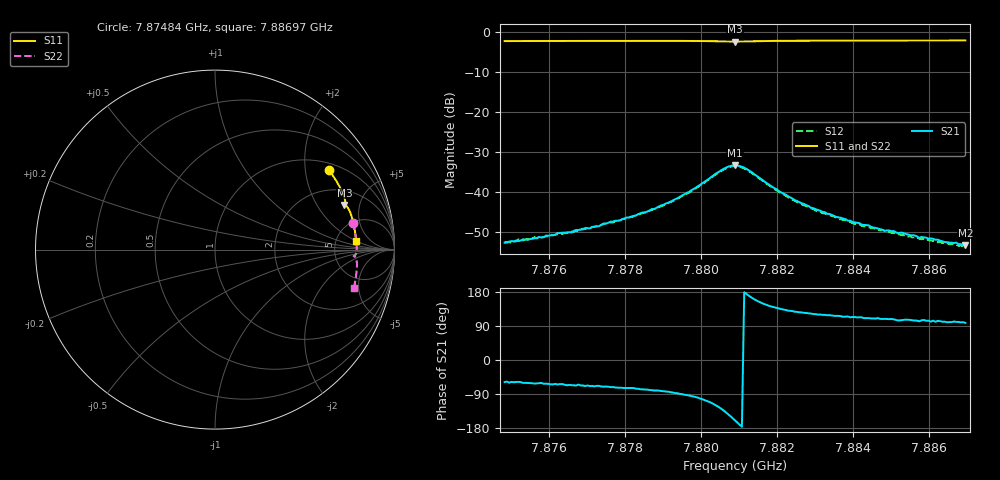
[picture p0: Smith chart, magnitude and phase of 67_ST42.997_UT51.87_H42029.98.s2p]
#  HZ  S  DB  R  50.00
! Rohde & Schwarz Vector Network Analyzer
! Rohde-Schwarz,ZNB20-2Port,1311601062101988,3.16
! Created: UTC 1/12/2023, 6:34:09 PM
! freq[Hz]  db:S11  ang:S11  db:S21  ang:S21  db:S12  ang:S12  db:S22  ang:S22
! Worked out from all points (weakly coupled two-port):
!   201 points, 7.87484 GHz to 7.88697 GHz, reference 50 ohm
!   highest |S21| = -33.30 dB at 7.88091 GHz (marker M1); lowest = -53.2 dB at 7.88697 GHz (marker M2)
!   lowest |S11| = -2.4 dB at 7.88091 GHz (marker M3), VSWR 7.41, Z = 150 + j178 ohm
!   |S11| at or under -10 dB: nowhere
!   |S22| runs from -2.2 to -1.9 dB; largest |S21 - S12| = 0.0015
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7.87484e9  -2.23 35.0  -52.61 -58.4  -52.48 -60.5  -2.14 11.0
7.874961e9  -2.23 34.7  -52.42 -59.7  -52.31 -61.2  -2.14 10.6
7.875022e9  -2.23 34.5  -52.19 -57.8  -52.89 -61.3  -2.14 10.5
7.875204e9  -2.22 34.0  -52.21 -57.8  -51.75 -62.8  -2.13 10.1
7.875325e9  -2.22 33.6  -51.78 -60.6  -52.05 -64.0  -2.13 9.8
7.876538e9  -2.20 30.3  -49.98 -65.7  -49.84 -68.1  -2.10 7.0
7.876781e9  -2.20 29.7  -49.47 -64.9  -49.85 -70.5  -2.09 6.3
7.876902e9  -2.20 29.4  -49.29 -67.2  -49.11 -71.3  -2.08 6.1
7.877812e9  -2.18 26.9  -47.13 -73.0  -47.31 -75.3  -2.07 3.9
7.878904e9  -2.18 23.8  -43.56 -80.8  -43.75 -84.9  -2.05 1.4
7.879692e9  -2.19 21.5  -39.93 -93.5  -40.15 -97.5  -2.06 -0.6
7.880602e9  -2.32 19.2  -34.17 -132.9  -34.36 -136.4  -2.19 -2.6
7.880905e9  -2.36 19.0  -33.30 -159.4  -33.48 -162.8  -2.23 -2.7
7.881148e9  -2.33 18.8  -33.86 178.8  -34.08 175.5  -2.22 -2.7
7.882118e9  -2.16 16.4  -40.05 134.5  -40.30 131.3  -2.03 -4.6
7.882968e9  -2.13 14.0  -43.99 121.3  -44.20 118.4  -1.98 -6.7
7.883635e9  -2.11 12.2  -46.30 116.4  -46.70 112.2  -1.97 -8.2
7.884848e9  -2.09 9.0  -49.66 108.5  -49.71 105.3  -1.94 -10.9
7.884969e9  -2.10 8.7  -49.57 107.9  -49.96 103.8  -1.94 -11.2
7.885758e9  -2.09 6.6  -51.42 102.1  -51.63 100.3  -1.92 -12.9
7.885818e9  -2.09 6.4  -51.16 104.9  -51.74 101.6  -1.93 -13.1
7.886971e9  -2.07 3.4  -53.18 98.0  -53.36 97.4  -1.92 -15.5
